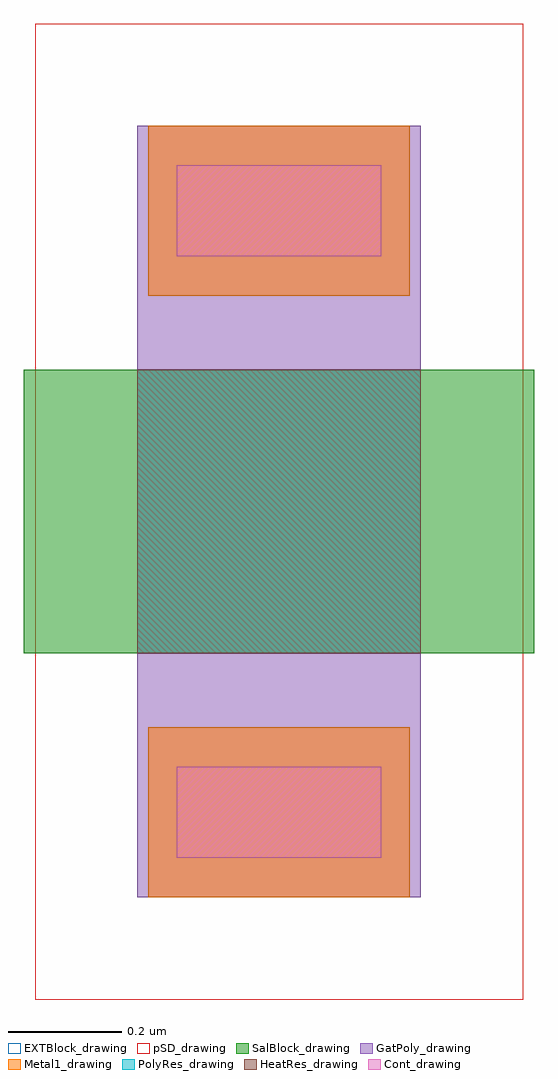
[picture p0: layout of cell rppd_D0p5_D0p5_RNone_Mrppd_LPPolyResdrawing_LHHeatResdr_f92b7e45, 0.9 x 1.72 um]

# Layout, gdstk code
import gdstk
lib = gdstk.Library(unit=1e-6, precision=1e-09)
def R(c, l, rs):  # rectangles x0, y0, x1, y1
    for r in rs: c.add(gdstk.rectangle(r[:2], r[2:], *l))
GatPoly_drawing = (5, 0)
Cont_drawing = (6, 0)
Metal1_drawing = (8, 0)
pSD_drawing = (14, 0)
SalBlock_drawing = (28, 0)
HeatRes_drawing = (52, 0)
EXTBlock_drawing = (111, 0)
PolyRes_drawing = (128, 0)

rectangle_gdsfactorypcom = lib.new_cell('rectangle_gdsfactorypcomponentspshapesprectangle_S0p5_0_ce1d4e87')
R(rectangle_gdsfactorypcom, PolyRes_drawing, [(0,0,0.5,0.5)])

c_rectangle_gdsfactorypcom = lib.new_cell('rectangle_gdsfactorypcomponentspshapesprectangle_S0p5_0_955d4748')
R(c_rectangle_gdsfactorypcom, HeatRes_drawing, [(0,0,0.5,0.5)])

c_rectangle_gdsfactorypcom_ = lib.new_cell('rectangle_gdsfactorypcomponentspshapesprectangle_S0p5_0_0861799f')
R(c_rectangle_gdsfactorypcom_, GatPoly_drawing, [(0,0,0.5,0.43)])

c_rectangle_gdsfactorypcom__ = lib.new_cell('rectangle_gdsfactorypcomponentspshapesprectangle_S0p36__7398b747')
R(c_rectangle_gdsfactorypcom__, Cont_drawing, [(0,0,0.36,0.16)])

c_rectangle_gdsfactorypcom___ = lib.new_cell('rectangle_gdsfactorypcomponentspshapesprectangle_S0p46__ebcaa0f1')
R(c_rectangle_gdsfactorypcom___, Metal1_drawing, [(0,0,0.46,0.3)])

c_rectangle_gdsfactorypcom____ = lib.new_cell('rectangle_gdsfactorypcomponentspshapesprectangle_S0p86__1fb207a9')
R(c_rectangle_gdsfactorypcom____, EXTBlock_drawing, [(0,0,0.86,1.72)])

c_rectangle_gdsfactorypcom_____ = lib.new_cell('rectangle_gdsfactorypcomponentspshapesprectangle_S0p86__0ea5da1c')
R(c_rectangle_gdsfactorypcom_____, pSD_drawing, [(0,0,0.86,1.72)])

c_rectangle_gdsfactorypcom______ = lib.new_cell('rectangle_gdsfactorypcomponentspshapesprectangle_S0p9_0_a8e4ce53')
R(c_rectangle_gdsfactorypcom______, EXTBlock_drawing, [(0,0,0.9,0.5)])

c_rectangle_gdsfactorypcom_______ = lib.new_cell('rectangle_gdsfactorypcomponentspshapesprectangle_S0p9_0_e9f9a192')
R(c_rectangle_gdsfactorypcom_______, SalBlock_drawing, [(0,0,0.9,0.5)])

rppd_d0p5_d0p5_rnone_mrp = lib.new_cell('rppd_D0p5_D0p5_RNone_Mrppd_LPPolyResdrawing_LHHeatResdr_f92b7e45')
rppd_d0p5_d0p5_rnone_mrp.add(gdstk.Reference(rectangle_gdsfactorypcom, (0,0)))
rppd_d0p5_d0p5_rnone_mrp.add(gdstk.Reference(c_rectangle_gdsfactorypcom, (0,0)))
rppd_d0p5_d0p5_rnone_mrp.add(gdstk.Reference(c_rectangle_gdsfactorypcom_, (0,0.5)))
rppd_d0p5_d0p5_rnone_mrp.add(gdstk.Reference(c_rectangle_gdsfactorypcom_, (0,-0.43)))
rppd_d0p5_d0p5_rnone_mrp.add(gdstk.Reference(c_rectangle_gdsfactorypcom__, (0.07,0.7)))
rppd_d0p5_d0p5_rnone_mrp.add(gdstk.Reference(c_rectangle_gdsfactorypcom__, (0.07,-0.36)))
rppd_d0p5_d0p5_rnone_mrp.add(gdstk.Reference(c_rectangle_gdsfactorypcom___, (0.02,0.63)))
rppd_d0p5_d0p5_rnone_mrp.add(gdstk.Reference(c_rectangle_gdsfactorypcom___, (0.02,-0.43)))
rppd_d0p5_d0p5_rnone_mrp.add(gdstk.Reference(c_rectangle_gdsfactorypcom____, (-0.18,-0.61)))
rppd_d0p5_d0p5_rnone_mrp.add(gdstk.Reference(c_rectangle_gdsfactorypcom_____, (-0.18,-0.61)))
rppd_d0p5_d0p5_rnone_mrp.add(gdstk.Reference(c_rectangle_gdsfactorypcom______, (-0.2,0)))
rppd_d0p5_d0p5_rnone_mrp.add(gdstk.Reference(c_rectangle_gdsfactorypcom_______, (-0.2,0)))

lib.write_gds('rppd_D0p5_D0p5_RNone_Mrppd_LPPolyResdrawing_LHHeatResdr_f92b7e45.gds')
